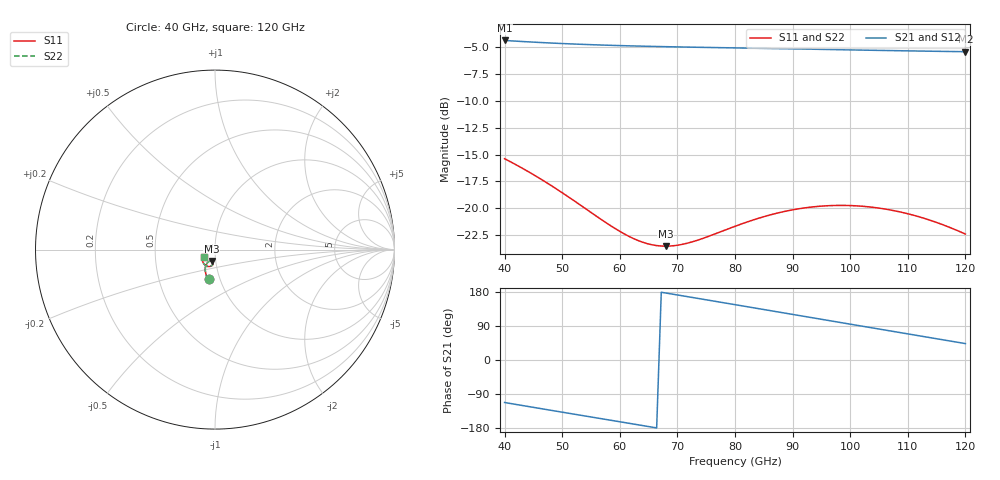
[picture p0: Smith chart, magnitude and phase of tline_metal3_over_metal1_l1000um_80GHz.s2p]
#  GHZ S DB R 50
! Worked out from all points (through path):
!   101 points, 40 GHz to 120 GHz, reference 50 ohm
!   highest |S21| = -4.38 dB at 40 GHz (marker M1); lowest = -5.4 dB at 120 GHz (marker M2)
!   group delay of S21, straight-line fit = 7.1 ps
!   lowest |S11| = -23.5 dB at 68 GHz (marker M3), VSWR 1.14, Z = 47.8 - j6.15 ohm
!   |S11| at or under -10 dB: start of sweep to end of sweep
!   |S22| runs from -23.6 to -15.4 dB; largest |S21 - S12| = 6.6e-14
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40  -15.38 -102.1  -4.38 -112.2  -4.38 -112.2  -15.40 -102.1
43.2  -16.31 -108.0  -4.49 -120.4  -4.49 -120.4  -16.33 -107.9
47.2  -17.58 -114.0  -4.60 -130.6  -4.60 -130.6  -17.60 -114.0
53.6  -19.86 -119.8  -4.75 -146.8  -4.75 -146.8  -19.89 -119.9
57.6  -21.33 -119.9  -4.82 -156.9  -4.82 -156.9  -21.35 -120.0
61.6  -22.61 -116.6  -4.88 -167.0  -4.88 -167.0  -22.64 -116.7
64.8  -23.29 -111.8  -4.93 -175.1  -4.93 -175.1  -23.32 -112.0
67.2  -23.50 -107.6  -4.95 178.8  -4.95 178.8  -23.54 -107.8
68  -23.52 -106.2  -4.96 176.7  -4.96 176.7  -23.55 -106.4
70.4  -23.39 -102.4  -4.99 170.6  -4.99 170.6  -23.44 -102.7
73.6  -22.94 -98.9  -5.02 162.4  -5.02 162.4  -22.99 -99.2
80  -21.67 -97.8  -5.08 146.0  -5.08 146.0  -21.73 -98.1
84  -20.94 -100.4  -5.11 135.8  -5.11 135.8  -21.01 -100.7
87.2  -20.46 -103.6  -5.14 127.5  -5.14 127.5  -20.54 -104.0
90.4  -20.10 -107.6  -5.17 119.3  -5.17 119.3  -20.18 -108.0
93.6  -19.86 -112.0  -5.20 111.1  -5.20 111.1  -19.94 -112.5
96.8  -19.74 -116.7  -5.23 102.8  -5.23 102.8  -19.83 -117.2
100  -19.74 -121.6  -5.26 94.6  -5.26 94.6  -19.83 -122.1
103.2  -19.86 -126.4  -5.29 86.4  -5.29 86.4  -19.95 -127.0
107.2  -20.17 -132.3  -5.33 76.1  -5.33 76.1  -20.26 -132.9
113.6  -21.06 -140.6  -5.38 59.7  -5.38 59.7  -21.15 -141.2
120  -22.39 -146.3  -5.43 43.3  -5.43 43.3  -22.48 -147.0
